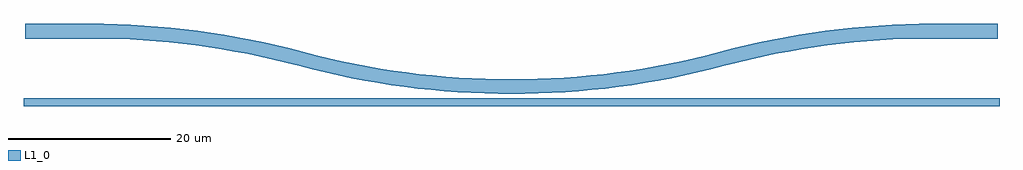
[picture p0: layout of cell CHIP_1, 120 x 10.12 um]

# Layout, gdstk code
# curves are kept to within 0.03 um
from math import pi, radians
import gdstk
lib = gdstk.Library(unit=1e-6, precision=1e-09)
def P(c, l, *ps):  # polygons
    for p in ps: c.add(gdstk.Polygon(p, *l))
L1_0 = (1, 0)

arc1 = lib.new_cell('Arc1')
P(arc1, L1_0, [(100.886,1.651),(100.778,4.951),(100.563,8.246),(100.239,11.532),(99.808,14.805),(99.27,18.063),(98.626,21.301),(97.876,24.517),(97.022,27.706),(96.063,30.866),(95.002,33.992),(93.839,37.082),(92.575,40.133),(91.213,43.14),(89.752,46.102),(87.382,50.45),(85.823,49.55),(87.398,46.715),(88.88,43.831),(90.267,40.899),(92.165,36.421),(93.841,31.855),(94.833,28.767),(95.723,25.649),(96.511,22.503),(97.499,17.741),(98.027,14.541),(98.451,11.326),(98.769,8.099),(98.981,4.863),(99.1,0),(100.9,0)])

st_wg = lib.new_cell('ST_WG')
P(st_wg, L1_0, [(30,-0.5),(60,-0.5),(90,-0.5),(120,-0.5),(120,0.5),(90,0.5),(60,0.5),(30,0.5),(0,0.5),(0,-0.5)])
st_wg.add(gdstk.Label('TAPER 1.0->1.0 L=120.0', (60,-5), layer=100, texttype=0))

arc2 = lib.new_cell('Arc2')
P(arc2, L1_0, [(100.886,1.651),(100.778,4.951),(100.563,8.246),(100.037,13.17),(99.552,16.436),(98.961,19.685),(98.264,22.912),(97.462,26.115),(95.723,25.649),(96.511,22.503),(97.196,19.333),(97.776,16.143),(98.252,12.935),(98.623,9.713),(98.888,6.481),(99.047,3.242),(99.1,0),(100.9,0)])

st_wg_2 = lib.new_cell('ST_WG_2')
P(st_wg_2, L1_0, [(2,-0.9),(4,-0.9),(6,-0.9),(8,-0.9),(8,0.9),(6,0.9),(4,0.9),(2,0.9),(0,0.9),(0,-0.9)])
st_wg_2.add(gdstk.Label('TAPER 1.8->1.8 L=8.0', (4,-5), layer=100, texttype=0))

chip_1 = lib.new_cell('CHIP_1')
chip_1.add(gdstk.Reference(arc1, (0,100), rotation=radians(-105)))
chip_1.add(gdstk.Reference(st_wg, (-60,-1.9)))
chip_1.add(gdstk.Reference(arc2, (51.764,-93.185), rotation=pi/2))
chip_1.add(gdstk.Reference(arc2, (-51.764,-93.185), rotation=radians(75)))
chip_1.add(gdstk.Reference(st_wg_2, (-59.764,6.815)))
chip_1.add(gdstk.Reference(st_wg_2, (59.764,6.815), rotation=pi))

lib.write_gds('CHIP_1.gds')
